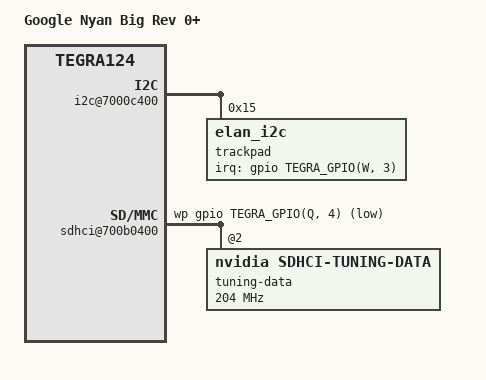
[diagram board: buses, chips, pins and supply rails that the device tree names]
/dts-v1/;

#include "tegra124.dtsi"
#include "tegra124-nyan.dtsi"
#include "tegra124-nyan-big-emc.dtsi"

/ {
	model = "Google Nyan Big Rev 0+";

	compatible = "google,nyan-big-rev5", "google,nyan-big-rev4",
			"google,nyan-big-rev3", "google,nyan-big-rev2",
			"google,nyan-big-rev1", "google,nyan-big-rev0",
			"google,nyan-big", "google,nyan",
			"nvidia,tegra124";

	host1x@50000000 {
		dc@54200000 {
			depth = <18>;
			width = <256>;
			height = <144>;
			power-off-time = <150>;
		};
	};

	pinmux {
		pinmux@0 {
			hp_det_l {
				nvidia,pins = "pi7";
				nvidia,function = "rsvd1";
				nvidia,pull = <TEGRA_PIN_PULL_NONE>;
				nvidia,tristate = <TEGRA_PIN_DISABLE>;
				nvidia,enable-input = <TEGRA_PIN_ENABLE>;
			};
			soc_warm_reset_l {
				nvidia,pins = "pi5";
				nvidia,function = "gmi";
				nvidia,pull = <TEGRA_PIN_PULL_UP>;
				nvidia,tristate = <TEGRA_PIN_DISABLE>;
				nvidia,enable-input = <TEGRA_PIN_DISABLE>;
			};
		};
	};

	i2c@7000c400 {
		trackpad@15 {
			compatible = "elan_i2c";
			reg = <0x15>;
			interrupt-parent = <&gpio>;
			interrupts = <TEGRA_GPIO(W, 3) GPIO_ACTIVE_HIGH>;
			nvidia,pmc-wakeup = <&pmc 1 11 2>;
			wakeup-source;
		};
	};

	sdhci@700b0000 {
		trim-delay = <0x2>;
		calib-3v3-offsets = <0x0000>;
		calib-1v8-offsets = <0x0000>;
		calib-1v8-offsets-uhs-modes = <0x3f>;
	};

	sdhci@700b0400 {
		wp-gpios = <&gpio TEGRA_GPIO(Q, 4) GPIO_ACTIVE_HIGH>;
		cd-inverted;
		wp-inverted;
		trim-delay = <0x3>;
		calib-3v3-offsets = <0x0000>;
		calib-1v8-offsets = <0x0000>;
		calib-1v8-offsets-uhs-modes = <0x3f>;

		tuning-data@2 {
			compatible = "nvidia,sdhci-tuning-data";
			clock-frequency = <204000000>;
			nvidia,thole-vnom-slope = <468>;
			nvidia,thole-vnom-int = <36031>;
			nvidia,thole-vmax-slope = <468>;
			nvidia,thole-vmax-int = <36031>;
			nvidia,thole-vmin-slope = <253>;
			nvidia,thole-vmin-int = <21264>;
		};
	};

	sdhci@700b0600 {
		trim-delay = <0x4>;
		ddr-trim-delay = <0x4>;
		calib-3v3-offsets = <0x0202>;
		calib-1v8-offsets = <0x0202>;
		calib-1v8-offsets-uhs-modes = <0x3f>;
	};

	pmc {
		nvidia,reset-gpio = <&gpio TEGRA_GPIO(I, 5) GPIO_ACTIVE_LOW>;
	};

	sound {
		nvidia,hp-det-gpios = <&gpio TEGRA_GPIO(I, 7) GPIO_ACTIVE_HIGH>;
		nvidia,mic-det-gpios = <&gpio TEGRA_GPIO(R, 7)
							GPIO_ACTIVE_HIGH>;
	};

	skin_temp: therm-est {
		compatible = "nvidia,tegra124-therm-est";
		toffset = <9793>;
		tc1 = <10>;
		tc2 = <1>;
		polling-period = <1100>;

		#thermal-sensor-cells = <0>;

		sub-devs {
			dev@0 {
				dev = <&diode_thermal_sensor>;
				coeffs = "2 1 1 1 1 1 1 1 1 1 1 0 1 1 0 0 0 0 -1 -7";
			};

			dev@1 {
				dev = <&board_thermal_sensor>;
				coeffs = "-11 -7 -5 -3 -3 -2 -1 0 0 0 1 1 1 2 2 3 4 6 11 18";
			};
		};
	};

	thermal-zones {
		skin-therm {
			polling-delay-passive = <15000>; /* milliseconds */
			polling-delay = <0>; /* milliseconds */

			thermal-sensors = <&skin_temp>;

			trips {
				balance_trip0: balance_trip {
					temperature = <45000>; /* millicelsius */
					hysteresis = <0>; /* millicelsius */
					type = "passive";
				};
			};

			cooling-maps {
				map0 {
					trip = <&balance_trip0>;
					cooling-device = <&throttle0 THERMAL_NO_LIMIT THERMAL_NO_LIMIT>;
				};
			};
		};
	};
};
